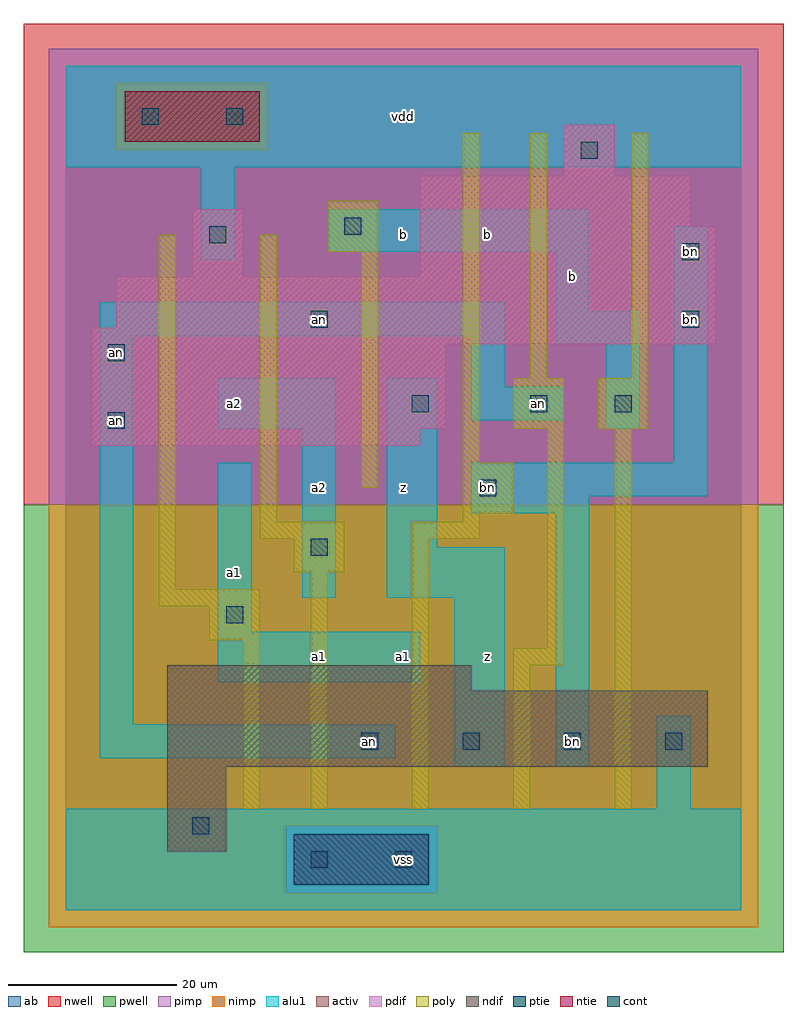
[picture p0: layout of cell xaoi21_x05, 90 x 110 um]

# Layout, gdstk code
import gdstk
lib = gdstk.Library(unit=1e-6, precision=1e-09)
def R(c, l, rs):  # rectangles x0, y0, x1, y1
    for r in rs: c.add(gdstk.rectangle(r[:2], r[2:], *l))
def A(c, l, x, y, w, h, nx, ny, dx, dy):  # array of equal rectangles
    R(c, l, [(x+i*dx, y+j*dy, x+i*dx+w, y+j*dy+h) for i in range(nx) for j in range(ny)])
ndif = (3, 0)
pdif = (4, 0)
ntie = (5, 0)
ptie = (6, 0)
cont = (25, 0)
pwell = (41, 0)
nwell = (42, 0)
activ = (43, 0)
pimp = (44, 0)
nimp = (45, 0)
poly = (46, 0)
alu1 = (49, 0)
ab = (63, 0)

xaoi21_x05 = lib.new_cell('xaoi21_x05')
R(xaoi21_x05, ndif, [(12,7,19,17), (12,17,76,26), (12,26,48,29)])
R(xaoi21_x05, pdif, [(3,55,42,57), (3,57,45,67), (3,67,77,69), (6,69,77,75), (15,75,21,83), (42,75,77,81), (42,81,74,87), (59,87,65,93)])
R(xaoi21_x05, ntie, [(7,91,23,97)])
R(xaoi21_x05, ptie, [(27,3,43,9)])
A(xaoi21_x05, cont, 35, 19, 2, 2, 4, 1, 12, 0)
R(xaoi21_x05, cont, [(29,5,31,7), (39,5,41,7), (15,9,17,11), (19,34,21,36), (29,42,31,44), (49,49,51,51), (5,57,7,59), (41,59,43,61), (55,59,57,61), (65,59,67,61), (5,65,7,67), (29,69,31,71), (73,69,75,71), (73,77,75,79), (17,79,19,81), (33,80,35,82), (61,89,63,91), (9,93,11,95), (19,93,21,95)])
R(xaoi21_x05, pwell, [(-5,-5,85,48)])
R(xaoi21_x05, nwell, [(-5,48,85,105)])
R(xaoi21_x05, activ, [(27,3,43,9), (12,7,19,17), (12,17,76,26), (12,26,48,29), (3,55,42,57), (3,57,45,67), (3,67,77,69), (6,69,77,75), (15,75,21,83), (42,75,77,81), (42,81,74,87), (59,87,65,93), (7,91,23,97)])
R(xaoi21_x05, pimp, [(26,2,44,10), (-2,48,82,90), (-2,90,6,98), (24,90,82,98), (-2,98,82,102)])
R(xaoi21_x05, nimp, [(-2,-2,82,2), (-2,2,26,10), (44,2,82,10), (-2,10,82,48), (6,90,24,98)])
R(xaoi21_x05, poly, [(21,12,23,32), (29,12,31,40), (41,12,43,44), (53,12,55,29), (65,12,67,57), (53,29,59,31), (57,31,59,57), (17,32,23,36), (11,36,23,38), (11,38,13,80), (27,40,33,44), (23,44,33,46), (41,44,49,46), (23,46,25,80), (47,46,49,47), (47,47,53,53), (35,50,37,78), (47,53,49,92), (53,57,59,63), (63,57,69,63), (55,63,57,92), (67,63,69,92), (31,78,37,84)])
R(xaoi21_x05, alu1, [(0,0,80,12), (70,12,74,23), (46,17,52,37), (58,17,62,47), (4,18,39,22), (4,22,8,68), (18,27,42,33), (18,33,22,53), (28,37,32,57), (38,37,52,43), (38,43,44,63), (48,47,62,49), (48,49,76,53), (72,53,76,81), (18,57,32,63), (64,57,68,67), (48,58,59,62), (48,62,52,68), (58,67,68,71), (4,68,52,72), (58,71,62,78), (16,77,20,88), (31,78,62,83), (0,88,80,100)])
R(xaoi21_x05, ab, [(0,0,80,100)])
xaoi21_x05.add(gdstk.Label('an', (6,66), layer=49, texttype=0))
xaoi21_x05.add(gdstk.Label('an', (6,58), layer=49, texttype=0))
xaoi21_x05.add(gdstk.Label('an', (36,20), layer=49, texttype=0))
xaoi21_x05.add(gdstk.Label('an', (30,70), layer=49, texttype=0))
xaoi21_x05.add(gdstk.Label('bn', (50,50), layer=49, texttype=0))
xaoi21_x05.add(gdstk.Label('an', (56,60), layer=49, texttype=0))
xaoi21_x05.add(gdstk.Label('bn', (60,20), layer=49, texttype=0))
xaoi21_x05.add(gdstk.Label('bn', (74,70), layer=49, texttype=0))
xaoi21_x05.add(gdstk.Label('bn', (74,78), layer=49, texttype=0))
xaoi21_x05.add(gdstk.Label('a1', (20,40), layer=49, texttype=0))
xaoi21_x05.add(gdstk.Label('a1', (30,30), layer=49, texttype=0))
xaoi21_x05.add(gdstk.Label('a2', (30,50), layer=49, texttype=0))
xaoi21_x05.add(gdstk.Label('a2', (20,60), layer=49, texttype=0))
xaoi21_x05.add(gdstk.Label('vss', (40,6), layer=49, texttype=0))
xaoi21_x05.add(gdstk.Label('a1', (40,30), layer=49, texttype=0))
xaoi21_x05.add(gdstk.Label('z', (50,30), layer=49, texttype=0))
xaoi21_x05.add(gdstk.Label('z', (40,50), layer=49, texttype=0))
xaoi21_x05.add(gdstk.Label('b', (40,80), layer=49, texttype=0))
xaoi21_x05.add(gdstk.Label('vdd', (40,94), layer=49, texttype=0))
xaoi21_x05.add(gdstk.Label('b', (50,80), layer=49, texttype=0))
xaoi21_x05.add(gdstk.Label('b', (60,75), layer=49, texttype=0))

lib.write_gds('xaoi21_x05.gds')
